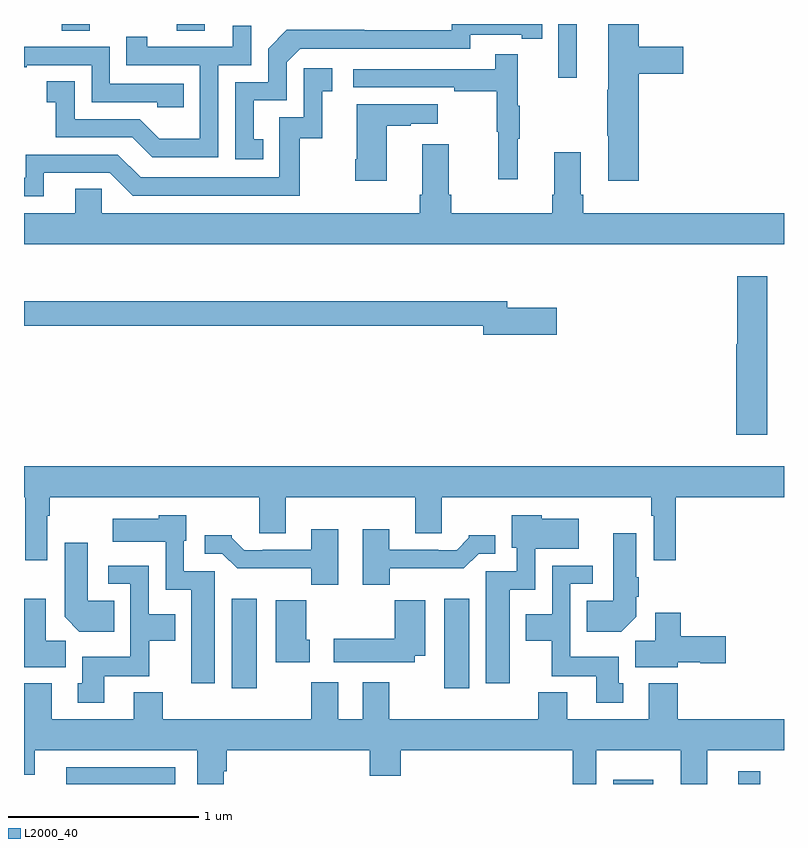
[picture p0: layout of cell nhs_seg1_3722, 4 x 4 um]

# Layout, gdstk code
import gdstk
lib = gdstk.Library(unit=1e-6, precision=1e-09)
def R(c, l, rs):  # rectangles x0, y0, x1, y1
    for r in rs: c.add(gdstk.rectangle(r[:2], r[2:], *l))
def P(c, l, *ps):  # polygons
    for p in ps: c.add(gdstk.Polygon(p, *l))
L2000_40 = (2000, 40)

nhs_seg1_3722 = lib.new_cell('nhs_seg1_3722')
R(nhs_seg1_3722, L2000_40, [(313.223,574.199,313.797,574.287), (316.1,574.199,316.312,574.222), (316.758,574.199,316.874,574.267), (314.093,574.704,314.224,575.173), (315.212,574.704,315.343,575.173), (315.813,577.917,315.91,578.199), (313.199,578.164,313.347,578.199), (313.804,578.164,313.951,578.199)])
P(nhs_seg1_3722, L2000_40, [(316.235,577.937),(316.471,577.937),(316.471,578.079),(316.235,578.079),(316.235,578.199),(316.076,578.199),(316.076,577.853),(316.069,577.853),(316.069,577.612),(316.076,577.612),(316.076,577.374),(316.235,577.374)],
  [(314.258,577.593),(314.209,577.593),(314.209,577.797),(314.382,577.797),(314.382,577.998),(314.454,578.07),(315.348,578.07),(315.348,578.142),(315.62,578.142),(315.62,578.122),(315.728,578.122),(315.728,578.199),(315.252,578.199),(315.252,578.166),(314.792,578.166),(314.792,578.168),(314.384,578.168),(314.286,578.07),(314.286,577.893),(314.112,577.893),(314.112,577.488),(314.258,577.488)],
  [(314.022,577.983),(314.196,577.983),(314.196,578.191),(314.099,578.191),(314.099,578.079),(313.648,578.079),(313.648,578.131),(313.537,578.131),(313.537,577.983),(313.926,577.983),(313.926,577.594),(313.712,577.594),(313.608,577.698),(313.266,577.698),(313.266,577.897),(313.119,577.897),(313.119,577.787),(313.168,577.787),(313.168,577.602),(313.571,577.602),(313.676,577.497),(314.022,577.497)],
  [(313.841,577.884),(313.452,577.884),(313.452,578.079),(313,578.079),(313,577.971),(313.015,577.971),(313.015,577.983),(313.356,577.983),(313.356,577.788),(313.701,577.788),(313.701,577.761),(313.841,577.761)],
  [(315.599,577.595),(315.61,577.595),(315.61,577.769),(315.599,577.769),(315.599,578.041),(315.481,578.041),(315.481,577.962),(314.733,577.962),(314.733,577.866),(315.265,577.866),(315.265,577.846),(315.489,577.846),(315.489,577.632),(315.496,577.632),(315.496,577.383),(315.599,577.383)],
  [(313.105,577.416),(313.452,577.416),(313.572,577.296),(314.452,577.296),(314.452,577.599),(314.57,577.599),(314.57,577.845),(314.623,577.845),(314.623,577.966),(314.472,577.966),(314.472,577.707),(314.343,577.707),(314.343,577.392),(313.614,577.392),(313.494,577.512),(313.008,577.512),(313.008,577.389),(313,577.389),(313,577.293),(313.105,577.293)],
  [(314.908,577.663),(315.035,577.663),(315.035,577.673),(315.178,577.673),(315.178,577.777),(314.75,577.777),(314.75,577.486),(314.743,577.486),(314.743,577.374),(314.908,577.374)],
  [(317,577.204),(315.944,577.204),(315.944,577.3),(315.931,577.3),(315.931,577.525),(315.791,577.525),(315.791,577.3),(315.779,577.3),(315.779,577.204),(315.248,577.204),(315.248,577.3),(315.235,577.3),(315.235,577.567),(315.095,577.567),(315.095,577.3),(315.083,577.3),(315.083,577.204),(313.41,577.204),(313.41,577.331),(313.271,577.331),(313.271,577.204),(313,577.204),(313,577.04),(317,577.04)],
  [(316.912,576.871),(316.754,576.871),(316.754,576.513),(316.748,576.513),(316.748,576.036),(316.912,576.036)],
  [(315.805,576.705),(315.544,576.705),(315.544,576.739),(313,576.739),(313,576.61),(315.416,576.61),(315.416,576.563),(315.805,576.563)],
  [(313.122,575.612),(313.135,575.612),(313.135,575.708),(314.237,575.708),(314.237,575.518),(314.377,575.518),(314.377,575.708),(315.059,575.708),(315.059,575.518),(315.199,575.518),(315.199,575.708),(316.302,575.708),(316.302,575.612),(316.314,575.612),(316.314,575.376),(316.43,575.376),(316.43,575.708),(317,575.708),(317,575.872),(313,575.872),(313,575.708),(313.006,575.708),(313.006,575.376),(313.122,575.376)],
  [(315.556,575.222),(315.69,575.222),(315.69,575.438),(315.919,575.438),(315.919,575.596),(315.726,575.596),(315.726,575.614),(315.566,575.614),(315.566,575.442),(315.594,575.442),(315.594,575.319),(315.431,575.319),(315.431,574.728),(315.556,574.728)],
  [(314.005,575.319),(313.842,575.319),(313.842,575.478),(313.855,575.478),(313.855,575.614),(313.71,575.614),(313.71,575.596),(313.467,575.596),(313.467,575.474),(313.746,575.474),(313.746,575.222),(313.88,575.222),(313.88,574.728),(314.005,574.728)],
  [(314.653,575.539),(314.513,575.539),(314.513,575.433),(314.257,575.433),(314.257,575.43),(314.158,575.43),(314.094,575.494),(314.094,575.509),(313.95,575.509),(313.95,575.412),(314.043,575.412),(314.122,575.334),(314.511,575.334),(314.511,575.249),(314.653,575.249)],
  [(314.926,575.334),(315.315,575.334),(315.393,575.412),(315.481,575.412),(315.481,575.509),(315.342,575.509),(315.342,575.494),(315.278,575.43),(315.179,575.43),(315.179,575.433),(314.923,575.433),(314.923,575.539),(314.783,575.539),(314.783,575.249),(314.926,575.249)],
  [(316.222,575.078),(316.222,575.185),(316.235,575.185),(316.235,575.288),(316.222,575.288),(316.222,575.518),(316.1,575.518),(316.1,575.164),(315.961,575.164),(315.961,575),(316.144,575)],
  [(313.475,575.164),(313.336,575.164),(313.336,575.47),(313.214,575.47),(313.214,575.078),(313.292,575),(313.475,575)],
  [(313.423,574.766),(313.659,574.766),(313.659,574.952),(313.795,574.952),(313.795,575.092),(313.656,575.092),(313.656,575.349),(313.443,575.349),(313.443,575.253),(313.56,575.253),(313.56,574.87),(313.307,574.87),(313.307,574.728),(313.283,574.728),(313.283,574.626),(313.423,574.626)],
  [(316.153,574.728),(316.129,574.728),(316.129,574.87),(315.876,574.87),(315.876,575.253),(315.994,575.253),(315.994,575.349),(315.78,575.349),(315.78,575.092),(315.641,575.092),(315.641,574.952),(315.778,574.952),(315.778,574.766),(316.013,574.766),(316.013,574.626),(316.153,574.626)],
  [(313.219,574.952),(313.114,574.952),(313.114,575.174),(313,575.174),(313,574.814),(313.219,574.814)],
  [(315.057,574.874),(315.112,574.874),(315.112,575.167),(314.95,575.167),(314.95,574.963),(314.631,574.963),(314.631,574.841),(315.057,574.841)],
  [(314.503,574.959),(314.486,574.959),(314.486,575.167),(314.324,575.167),(314.324,574.841),(314.503,574.841)],
  [(316.44,574.841),(316.56,574.841),(316.56,574.834),(316.693,574.834),(316.693,574.976),(316.457,574.976),(316.457,575.101),(316.322,575.101),(316.322,574.952),(316.217,574.952),(316.217,574.814),(316.44,574.814)],
  [(314.052,574.267),(314.066,574.267),(314.066,574.376),(314.819,574.376),(314.819,574.243),(314.984,574.243),(314.984,574.376),(315.887,574.376),(315.887,574.199),(316.012,574.199),(316.012,574.376),(316.457,574.376),(316.457,574.199),(316.597,574.199),(316.597,574.376),(317,574.376),(317,574.54),(316.442,574.54),(316.442,574.729),(316.289,574.729),(316.289,574.54),(315.859,574.54),(315.859,574.681),(315.707,574.681),(315.707,574.54),(314.923,574.54),(314.923,574.735),(314.783,574.735),(314.783,574.54),(314.653,574.54),(314.653,574.735),(314.513,574.735),(314.513,574.54),(313.73,574.54),(313.73,574.681),(313.577,574.681),(313.577,574.54),(313.147,574.54),(313.147,574.729),(313,574.729),(313,574.249),(313.057,574.249),(313.057,574.376),(313.913,574.376),(313.913,574.199),(314.052,574.199)])

lib.write_gds('nhs_seg1_3722.gds')
